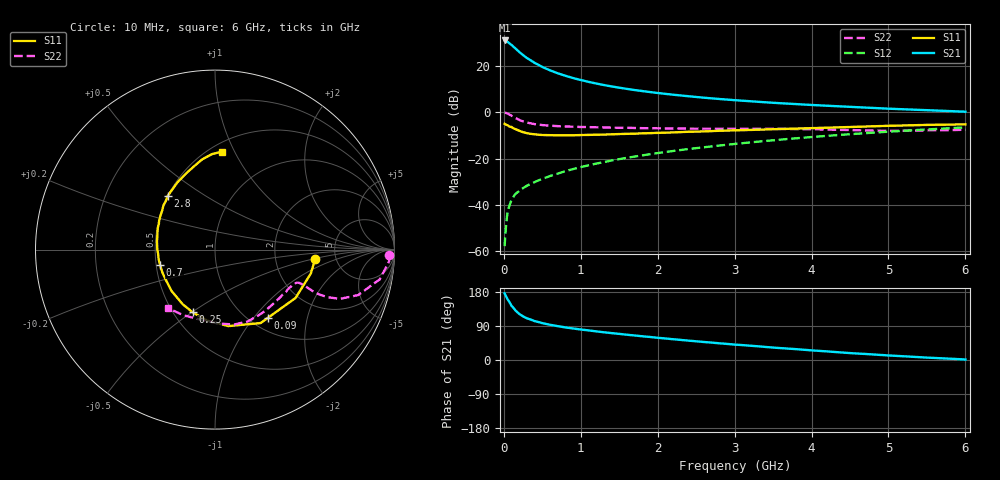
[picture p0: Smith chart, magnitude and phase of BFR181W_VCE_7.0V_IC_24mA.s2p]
! Infineon Technologies  Discrete & RF Semiconductors
! BFR181W
! VCE =  7.0 V,  IC =  24 mA
! Common Emitter S-Parameters:  Jan 2017
# GHz  S  MA  R  50
!  f  S11  S21  S12  S22
! GHz  MAG  ANG  MAG  ANG  MAG  ANG  MAG  ANG
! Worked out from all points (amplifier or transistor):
!   77 points, 10 MHz to 6 GHz, reference 50 ohm
!   highest |S21| = 30.9 dB at 10 MHz (marker M1)
!   |S21| within 3 dB of that: start of sweep to 135.5 MHz
!   unconditionally stable (mu >= 1): 595.8 MHz to 2.434 GHz
!   at 130 MHz: K = 0.45, MSG = 32.1 dB, |S12| = -36.2 dB
!   at 2.2 GHz: K = 1.03, MAG = 11.1 dB, |S12| = -16.7 dB
!   at 6 GHz: K = 0.82, MSG = 3.4 dB, |S12| = -6.6 dB
!   S11 on the Smith chart (normalised r, x): 10 MHz: 3.47, -0.52; 90 MHz: 1.19, -1.18; 250 MHz: 0.62, -0.50; 700 MHz: 0.53, -0.10; 2.8 GHz: 0.50, +0.35; 6 GHz: 0.57, +0.89
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0.01  0.5607 -5.3  35.04 175.8  0.0013 84.9  0.9705 -1.7
0.02  0.5503 -14.0  34.49 171.2  0.0023 93.3  0.9723 -3.9
0.05  0.5234 -31.0  32.68 159.8  0.0071 74.4  0.9322 -10.3
0.09  0.481 -52.4  28.82 146.8  0.0117 68.3  0.8552 -16.0
0.1  0.4818 -58.1  28.13 143.0  0.0128 67.4  0.8374 -17.6
0.15  0.4328 -80.0  23.62 130.9  0.0173 65.5  0.7497 -21.5
0.2  0.3981 -96.2  19.82 121.7  0.02 64.9  0.6811 -22.9
0.25  0.3707 -109.7  16.93 115.1  0.0232 64.1  0.633 -23.3
0.3  0.3536 -120.7  14.65 110.0  0.026 64.0  0.5967 -23.1
0.4  0.3342 -136.3  11.53 102.6  0.0312 66.6  0.553 -22.3
0.5  0.3223 -147.8  9.41 97.3  0.0366 67.7  0.5277 -21.9
0.6  0.3197 -156.8  7.965 93.0  0.0421 69.2  0.5115 -21.6
0.7  0.3177 -164.2  6.89 89.4  0.0474 71.6  0.5005 -21.6
0.9  0.3178 -175.5  5.434 83.2  0.0595 72.9  0.4862 -22.6
1.1  0.324 175.0  4.503 78.1  0.0716 74.2  0.4772 -24.2
1.5  0.338 161.2  3.365 68.9  0.0975 74.9  0.4617 -28.9
2.1  0.3619 145.7  2.482 56.8  0.1387 73.7  0.4468 -38.7
2.8  0.3976 131.6  1.924 44.1  0.1908 70.3  0.4408 -52.2
3.1  0.4097 125.9  1.766 39.3  0.2148 68.4  0.4385 -58.0
4.1  0.4579 109.5  1.403 24.1  0.2999 60.6  0.426 -77.7
5.1  0.5128 96.6  1.171 10.9  0.3886 51.1  0.3984 -103.9
6  0.5467 86.2  1.024 1.3  0.4694 41.5  0.4187 -128.9
